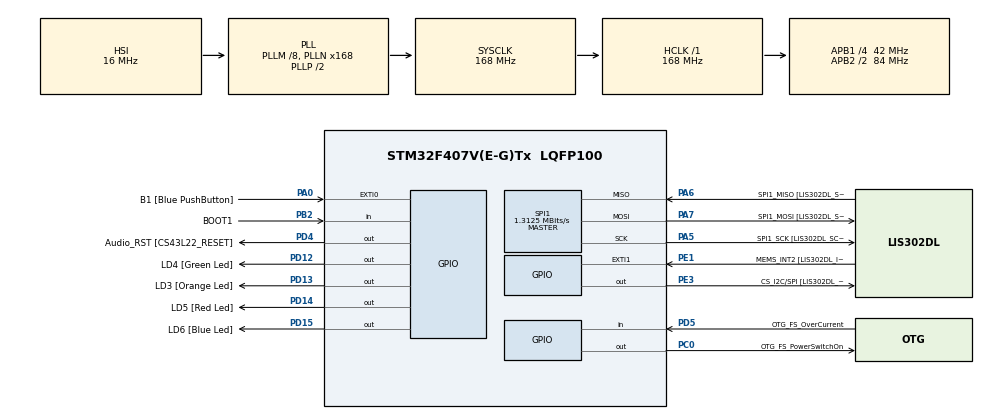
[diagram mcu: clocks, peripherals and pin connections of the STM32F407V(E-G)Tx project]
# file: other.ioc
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Mcu.Family=STM32F4
Mcu.Name=STM32F407V(E-G)Tx
Mcu.Package=LQFP100
NVIC.PriorityGroup=NVIC_PRIORITYGROUP_0
PA0-WKUP.GPIO_Label=B1 [Blue PushButton]
PA0-WKUP.GPIO_ModeDefaultEXTI=GPIO_MODE_EVT_RISING
PA0-WKUP.GPIO_PuPd=GPIO_NOPULL
PA0-WKUP.Signal=GPXTI0
PA10.GPIO_Label=OTG_FS_ID
PA10.GPIO_Mode=GPIO_MODE_AF_PP
PA10.GPIO_PuPd=GPIO_NOPULL
PA10.GPIO_Speed=GPIO_SPEED_FREQ_LOW
PA10.Signal=USB_OTG_FS_ID
PA11.GPIO_Label=OTG_FS_DM
PA11.GPIO_Mode=GPIO_MODE_AF_PP
PA11.GPIO_PuPd=GPIO_NOPULL
PA11.GPIO_Speed=GPIO_SPEED_FREQ_LOW
PA11.Signal=USB_OTG_FS_DM
PA12.GPIO_Label=OTG_FS_DP
PA12.GPIO_Mode=GPIO_MODE_AF_PP
PA12.GPIO_PuPd=GPIO_NOPULL
PA12.GPIO_Speed=GPIO_SPEED_FREQ_LOW
PA12.Signal=USB_OTG_FS_DP
PA13.GPIO_Label=SWDIO
PA13.Signal=SYS_JTMS-SWDIO
PA14.GPIO_Label=SWCLK
PA14.Signal=SYS_JTCK-SWCLK
PA4.GPIO_Label=I2S3_WS [CS43L22_LRCK]
PA4.GPIO_Mode=GPIO_MODE_AF_PP
PA4.GPIO_PuPd=GPIO_NOPULL
PA4.GPIO_Speed=GPIO_SPEED_FREQ_LOW
PA4.Signal=I2S3_WS
PA5.GPIO_Label=SPI1_SCK [LIS302DL_SCL/SPC]
PA5.GPIO_Mode=GPIO_MODE_AF_PP
PA5.GPIO_PuPd=GPIO_NOPULL
PA5.GPIO_Speed=GPIO_SPEED_FREQ_LOW
PA5.Mode=Full_Duplex_Master
PA5.Signal=SPI1_SCK
PA6.GPIO_Label=SPI1_MISO [LIS302DL_SDO]
PA6.GPIO_Mode=GPIO_MODE_AF_PP
PA6.GPIO_PuPd=GPIO_NOPULL
PA6.GPIO_Speed=GPIO_SPEED_FREQ_LOW
PA6.Mode=Full_Duplex_Master
PA6.Signal=SPI1_MISO
PA7.GPIO_Label=SPI1_MOSI [LIS302DL_SDA/SDI/SDO]
PA7.GPIO_Mode=GPIO_MODE_AF_PP
PA7.GPIO_PuPd=GPIO_NOPULL
PA7.GPIO_Speed=GPIO_SPEED_FREQ_LOW
PA7.Mode=Full_Duplex_Master
PA7.Signal=SPI1_MOSI
PA9.GPIO_Label=VBUS_FS
PA9.GPIO_Mode=GPIO_MODE_INPUT
PA9.GPIO_PuPd=GPIO_NOPULL
PA9.Signal=USB_OTG_FS_VBUS
PB10.GPIO_Label=CLK_IN [MP45DT02_CLK]
PB10.GPIO_Mode=GPIO_MODE_AF_PP
PB10.GPIO_PuPd=GPIO_NOPULL
PB10.GPIO_Speed=GPIO_SPEED_FREQ_LOW
PB10.Signal=I2S2_CK
PB2.GPIO_Label=BOOT1
PB2.GPIO_Mode=GPIO_MODE_INPUT
PB2.GPIO_PuPd=GPIO_NOPULL
PB2.Signal=GPIO_Input
PB3.GPIO_Label=SWO
PB3.Signal=SYS_JTDO-SWO
PB6.GPIO_Label=Audio_SCL [CS43L22_SCL]
PB6.GPIO_Mode=GPIO_MODE_AF_OD
PB6.GPIO_PuPd=GPIO_NOPULL
PB6.GPIO_Speed=GPIO_SPEED_FREQ_LOW
PB6.Signal=I2C1_SCL
PB9.GPIO_Label=Audio_SDA [CS43L22_SDA]
PB9.GPIO_Mode=GPIO_MODE_AF_OD
PB9.GPIO_PuPd=GPIO_NOPULL
PB9.GPIO_Speed=GPIO_SPEED_FREQ_LOW
PB9.Signal=I2C1_SDA
PC0.GPIO_Label=OTG_FS_PowerSwitchOn
PC0.GPIO_PuPd=GPIO_NOPULL
PC0.GPIO_Speed=GPIO_SPEED_FREQ_LOW
PC0.PinState=GPIO_PIN_SET
PC0.Signal=GPIO_Output
PC10.GPIO_Label=I2S3_SCK [CS43L22_SCLK]
PC10.GPIO_Mode=GPIO_MODE_AF_PP
PC10.GPIO_PuPd=GPIO_NOPULL
PC10.GPIO_Speed=GPIO_SPEED_FREQ_LOW
PC10.Signal=I2S3_CK
PC12.GPIO_Label=I2S3_SD [CS43L22_SDIN]
PC12.GPIO_Mode=GPIO_MODE_AF_PP
PC12.GPIO_PuPd=GPIO_NOPULL
PC12.GPIO_Speed=GPIO_SPEED_FREQ_LOW
PC12.Signal=I2S3_SD
PC14-OSC32_IN.GPIO_Label=PC14-OSC32_IN
PC14-OSC32_IN.Signal=RCC_OSC32_IN
PC15-OSC32_OUT.GPIO_Label=PC15-OSC32_OUT
PC15-OSC32_OUT.Signal=RCC_OSC32_OUT
PC3.GPIO_Label=PDM_OUT [MP45DT02_DOUT]
PC3.GPIO_Mode=GPIO_MODE_AF_PP
PC3.GPIO_PuPd=GPIO_NOPULL
PC3.GPIO_Speed=GPIO_SPEED_FREQ_LOW
PC3.Signal=I2S2_SD
PC7.GPIO_Label=I2S3_MCK [CS43L22_MCLK]
PC7.GPIO_Mode=GPIO_MODE_AF_PP
PC7.GPIO_PuPd=GPIO_NOPULL
PC7.GPIO_Speed=GPIO_SPEED_FREQ_LOW
PC7.Signal=I2S3_MCK
PD12.GPIO_Label=LD4 [Green Led]
PD12.GPIO_PuPd=GPIO_NOPULL
PD12.GPIO_Speed=GPIO_SPEED_FREQ_LOW
PD12.Signal=GPIO_Output
PD13.GPIO_Label=LD3 [Orange Led]
PD13.GPIO_PuPd=GPIO_NOPULL
PD13.GPIO_Speed=GPIO_SPEED_FREQ_LOW
PD13.Signal=GPIO_Output
PD14.GPIO_Label=LD5 [Red Led]
PD14.GPIO_PuPd=GPIO_NOPULL
PD14.GPIO_Speed=GPIO_SPEED_FREQ_LOW
PD14.Signal=GPIO_Output
PD15.GPIO_Label=LD6 [Blue Led]
PD15.GPIO_PuPd=GPIO_NOPULL
PD15.GPIO_Speed=GPIO_SPEED_FREQ_LOW
PD15.Signal=GPIO_Output
PD4.GPIO_Label=Audio_RST [CS43L22_RESET]
PD4.GPIO_PuPd=GPIO_NOPULL
PD4.GPIO_Speed=GPIO_SPEED_FREQ_LOW
PD4.Signal=GPIO_Output
PD5.GPIO_Label=OTG_FS_OverCurrent
PD5.GPIO_Mode=GPIO_MODE_INPUT
PD5.GPIO_PuPd=GPIO_NOPULL
PD5.Signal=GPIO_Input
PE1.GPIO_Label=MEMS_INT2 [LIS302DL_INT2]
PE1.GPIO_ModeDefaultEXTI=GPIO_MODE_EVT_RISING
PE1.GPIO_PuPd=GPIO_NOPULL
PE1.Signal=GPXTI1
PE3.GPIO_Label=CS_I2C/SPI [LIS302DL_CS_I2C/SPI]
PE3.GPIO_PuPd=GPIO_NOPULL
PE3.GPIO_Speed=GPIO_SPEED_FREQ_LOW
PE3.Signal=GPIO_Output
PH0-OSC_IN.GPIO_Label=PH0-OSC_IN
PH0-OSC_IN.Mode=HSE-External-Oscillator
PH0-OSC_IN.Signal=RCC_OSC_IN
PH1-OSC_OUT.GPIO_Label=PH1-OSC_OUT
PH1-OSC_OUT.Mode=HSE-External-Oscillator
PH1-OSC_OUT.Signal=RCC_OSC_OUT
ProjectManager.HeapSize=0x200
ProjectManager.StackSize=0x400
ProjectManager.TargetToolchain=SW4STM32
RCC.48MHZClocksFreq_Value=48000000
RCC.AHBFreq_Value=168000000
RCC.APB1CLKDivider=RCC_HCLK_DIV4
RCC.APB1Freq_Value=42000000
RCC.APB1TimFreq_Value=84000000
RCC.APB2CLKDivider=RCC_HCLK_DIV2
RCC.APB2Freq_Value=84000000
RCC.APB2TimFreq_Value=168000000
RCC.CortexFreq_Value=168000000
RCC.HCLKFreq_Value=168000000
RCC.HSE_VALUE=8000000
RCC.HSI_VALUE=16000000
RCC.LSE_VALUE=32768
RCC.PLLM=8
RCC.PLLN=168
RCC.PLLQ=7
RCC.SYSCLKFreq_VALUE=168000000
RCC.SYSCLKSource=RCC_SYSCLKSOURCE_PLLCLK
RCC.VCOOutputFreq_Value=336000000
SPI1.BaudRatePrescaler=SPI_BAUDRATEPRESCALER_64
SPI1.CalculateBaudRate=1.3125 MBits/s
SPI1.Direction=SPI_DIRECTION_2LINES
SPI1.Mode=SPI_MODE_MASTER
SPI1.VirtualType=VM_MASTER
board=STM32F4DISCOVERY

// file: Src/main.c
/**
  ******************************************************************************
  * @file           : main.c
  * @brief          : Main program body
  ******************************************************************************
  ** This notice applies to any and all portions of this file
  * that are not between comment pairs USER CODE BEGIN and
  * USER CODE END. Other portions of this file, whether
  * inserted by the user or by software development tools
  * are owned by their respective copyright owners.
  *
  * COPYRIGHT(c) 2018 STMicroelectronics
  *
  * Redistribution and use in source and binary forms, with or without modification,
  * are permitted provided that the following conditions are met:
  *   1. Redistributions of source code must retain the above copyright notice,
  *      this list of conditions and the following disclaimer.
  *   2. Redistributions in binary form must reproduce the above copyright notice,
  *      this list of conditions and the following disclaimer in the documentation
  *      and/or other materials provided with the distribution.
  *   3. Neither the name of STMicroelectronics nor the names of its contributors
  *      may be used to endorse or promote products derived from this software
  *      without specific prior written permission.
  *
  * THIS SOFTWARE IS PROVIDED BY THE COPYRIGHT HOLDERS AND CONTRIBUTORS "AS IS"
  * AND ANY EXPRESS OR IMPLIED WARRANTIES, INCLUDING, BUT NOT LIMITED TO, THE
  * IMPLIED WARRANTIES OF MERCHANTABILITY AND FITNESS FOR A PARTICULAR PURPOSE ARE
  * DISCLAIMED. IN NO EVENT SHALL THE COPYRIGHT HOLDER OR CONTRIBUTORS BE LIABLE
  * FOR ANY DIRECT, INDIRECT, INCIDENTAL, SPECIAL, EXEMPLARY, OR CONSEQUENTIAL
  * DAMAGES (INCLUDING, BUT NOT LIMITED TO, PROCUREMENT OF SUBSTITUTE GOODS OR
  * SERVICES; LOSS OF USE, DATA, OR PROFITS; OR BUSINESS INTERRUPTION) HOWEVER
  * CAUSED AND ON ANY THEORY OF LIABILITY, WHETHER IN CONTRACT, STRICT LIABILITY,
  * OR TORT (INCLUDING NEGLIGENCE OR OTHERWISE) ARISING IN ANY WAY OUT OF THE USE
  * OF THIS SOFTWARE, EVEN IF ADVISED OF THE POSSIBILITY OF SUCH DAMAGE.
  *
  ******************************************************************************
  */
#include "main.h"
#include "stm32f4xx_hal.h"

/* USER CODE BEGIN Includes */
#include "defines.h"
/* USER CODE END Includes */

SPI_HandleTypeDef hspi1;

/* USER CODE BEGIN PV */
/* Private variables ---------------------------------------------------------*/
int16_t X;
int16_t Y;
int16_t Z;

float X_Acc, Y_Acc, Z_Acc;
/* USER CODE END PV */

void SystemClock_Config(void);
static void MX_GPIO_Init(void);
static void MX_SPI1_Init(void);

/* USER CODE BEGIN PFP */
/* Private function prototypes -----------------------------------------------*/
void Accelero_Init(Sensitivity_t Sens);
void Read_Axis_Data(uint8_t address, uint8_t* data);
void Read_Axes();
/* USER CODE END PFP */

/* USER CODE BEGIN 0 */
uint8_t TxBuff[2], RxBuff[2];

float Sensitivity;
/* USER CODE END 0 */

int main(void)
{

  /* MCU Configuration----------------------------------------------------------*/

  /* Reset of all peripherals, Initializes the Flash interface and the Systick. */
  HAL_Init();

  /* Configure the system clock */
  SystemClock_Config();

  /* Initialize all configured peripherals */
  MX_GPIO_Init();
  MX_SPI1_Init();
  /* USER CODE BEGIN 2 */

  /*
   * Accelero_Init takes a Gravitational sensitivity as its argument.
   *
   * List of sensitivities:
   *
   * Sensitivity_2G,
   * Sensitivity_4G,
   * Sensitivity_6G,
   * Sensitivity_8G,
   * Sensitivity_16G,*/

  Accelero_Init(Sensitivity_6G);
  /* USER CODE END 2 */

  /* Infinite loop */
  /* USER CODE BEGIN WHILE */
  while (1)
  {
	   Read_Axes();

	  X_Acc = X/1000.0;
	  Y_Acc = Y/1000.0;
	  Z_Acc = Z/1000.0;

	   if (X < -200){
		   HAL_GPIO_WritePin(LED_PORT, GREEN_LED, GPIO_PIN_SET);
	   } else{
		   HAL_GPIO_WritePin(LED_PORT, GREEN_LED, GPIO_PIN_RESET);
	   }

	   if (X > 200){
		   HAL_GPIO_WritePin(LED_PORT, RED_LED, GPIO_PIN_SET);
	   }else{
	  		   HAL_GPIO_WritePin(LED_PORT, RED_LED, GPIO_PIN_RESET);
	  	   }

	   if (Y > 200){
		   HAL_GPIO_WritePin(LED_PORT, ORANGE_LED, GPIO_PIN_SET);
		  } else{
	   HAL_GPIO_WritePin(LED_PORT, ORANGE_LED, GPIO_PIN_RESET);
	   }

	   if (Y < -200){
	   		   HAL_GPIO_WritePin(LED_PORT, BLUE_LED, GPIO_PIN_SET);
	   		  } else{
	   	   HAL_GPIO_WritePin(LED_PORT, BLUE_LED, GPIO_PIN_RESET);
	   		  }
  /* USER CODE END WHILE */

  }

}

void SystemClock_Config(void)
{

  RCC_OscInitTypeDef RCC_OscInitStruct;
  RCC_ClkInitTypeDef RCC_ClkInitStruct;

    /**Configure the main internal regulator output voltage
    */
  __HAL_RCC_PWR_CLK_ENABLE();

  __HAL_PWR_VOLTAGESCALING_CONFIG(PWR_REGULATOR_VOLTAGE_SCALE1);

    /**Initializes the CPU, AHB and APB busses clocks
    */
  RCC_OscInitStruct.OscillatorType = RCC_OSCILLATORTYPE_HSI;
  RCC_OscInitStruct.HSIState = RCC_HSI_ON;
  RCC_OscInitStruct.HSICalibrationValue = 16;
  RCC_OscInitStruct.PLL.PLLState = RCC_PLL_ON;
  RCC_OscInitStruct.PLL.PLLSource = RCC_PLLSOURCE_HSI;
  RCC_OscInitStruct.PLL.PLLM = 8;
  RCC_OscInitStruct.PLL.PLLN = 168;
  RCC_OscInitStruct.PLL.PLLP = RCC_PLLP_DIV2;
  RCC_OscInitStruct.PLL.PLLQ = 7;
  if (HAL_RCC_OscConfig(&RCC_OscInitStruct) != HAL_OK)
  {
    _Error_Handler(__FILE__, __LINE__);
  }

    /**Initializes the CPU, AHB and APB busses clocks
    */
  RCC_ClkInitStruct.ClockType = RCC_CLOCKTYPE_HCLK|RCC_CLOCKTYPE_SYSCLK
                              |RCC_CLOCKTYPE_PCLK1|RCC_CLOCKTYPE_PCLK2;
  RCC_ClkInitStruct.SYSCLKSource = RCC_SYSCLKSOURCE_PLLCLK;
  RCC_ClkInitStruct.AHBCLKDivider = RCC_SYSCLK_DIV1;
  RCC_ClkInitStruct.APB1CLKDivider = RCC_HCLK_DIV4;
  RCC_ClkInitStruct.APB2CLKDivider = RCC_HCLK_DIV2;

  if (HAL_RCC_ClockConfig(&RCC_ClkInitStruct, FLASH_LATENCY_5) != HAL_OK)
  {
    _Error_Handler(__FILE__, __LINE__);
  }

    /**Configure the Systick interrupt time
    */
  HAL_SYSTICK_Config(HAL_RCC_GetHCLKFreq()/1000);

    /**Configure the Systick
    */
  HAL_SYSTICK_CLKSourceConfig(SYSTICK_CLKSOURCE_HCLK);

  /* SysTick_IRQn interrupt configuration */
  HAL_NVIC_SetPriority(SysTick_IRQn, 0, 0);
}

/* SPI1 init function */
static void MX_SPI1_Init(void)
{

  /* SPI1 parameter configuration*/
  hspi1.Instance = SPI1;
  hspi1.Init.Mode = SPI_MODE_MASTER;
  hspi1.Init.Direction = SPI_DIRECTION_2LINES;
  hspi1.Init.DataSize = SPI_DATASIZE_8BIT;
  hspi1.Init.CLKPolarity = SPI_POLARITY_LOW;
  hspi1.Init.CLKPhase = SPI_PHASE_1EDGE;
  hspi1.Init.NSS = SPI_NSS_SOFT;
  hspi1.Init.BaudRatePrescaler = SPI_BAUDRATEPRESCALER_64;
  hspi1.Init.FirstBit = SPI_FIRSTBIT_MSB;
  hspi1.Init.TIMode = SPI_TIMODE_DISABLE;
  hspi1.Init.CRCCalculation = SPI_CRCCALCULATION_DISABLE;
  hspi1.Init.CRCPolynomial = 10;
  if (HAL_SPI_Init(&hspi1) != HAL_OK)
  {
    _Error_Handler(__FILE__, __LINE__);
  }

}

/** Configure pins as
        * Analog
        * Input
        * Output
        * EVENT_OUT
        * EXTI
     PC3   ------> I2S2_SD
     PA4   ------> I2S3_WS
     PB10   ------> I2S2_CK
     PC7   ------> I2S3_MCK
     PA9   ------> USB_OTG_FS_VBUS
     PA10   ------> USB_OTG_FS_ID
     PA11   ------> USB_OTG_FS_DM
     PA12   ------> USB_OTG_FS_DP
     PC10   ------> I2S3_CK
     PC12   ------> I2S3_SD
     PB6   ------> I2C1_SCL
     PB9   ------> I2C1_SDA
*/
static void MX_GPIO_Init(void)
{

  GPIO_InitTypeDef GPIO_InitStruct;

  /* GPIO Ports Clock Enable */
  __HAL_RCC_GPIOE_CLK_ENABLE();
  __HAL_RCC_GPIOC_CLK_ENABLE();
  __HAL_RCC_GPIOH_CLK_ENABLE();
  __HAL_RCC_GPIOA_CLK_ENABLE();
  __HAL_RCC_GPIOB_CLK_ENABLE();
  __HAL_RCC_GPIOD_CLK_ENABLE();

  /*Configure GPIO pin Output Level */
  HAL_GPIO_WritePin(CS_I2C_SPI_GPIO_Port, CS_I2C_SPI_Pin, GPIO_PIN_RESET);

  /*Configure GPIO pin Output Level */
  HAL_GPIO_WritePin(OTG_FS_PowerSwitchOn_GPIO_Port, OTG_FS_PowerSwitchOn_Pin, GPIO_PIN_SET);

  /*Configure GPIO pin Output Level */
  HAL_GPIO_WritePin(GPIOD, LD4_Pin|LD3_Pin|LD5_Pin|LD6_Pin
                          |Audio_RST_Pin, GPIO_PIN_RESET);

  /*Configure GPIO pin : CS_I2C_SPI_Pin */
  GPIO_InitStruct.Pin = CS_I2C_SPI_Pin;
  GPIO_InitStruct.Mode = GPIO_MODE_OUTPUT_PP;
  GPIO_InitStruct.Pull = GPIO_NOPULL;
  GPIO_InitStruct.Speed = GPIO_SPEED_FREQ_LOW;
  HAL_GPIO_Init(CS_I2C_SPI_GPIO_Port, &GPIO_InitStruct);

  /*Configure GPIO pin : OTG_FS_PowerSwitchOn_Pin */
  GPIO_InitStruct.Pin = OTG_FS_PowerSwitchOn_Pin;
  GPIO_InitStruct.Mode = GPIO_MODE_OUTPUT_PP;
  GPIO_InitStruct.Pull = GPIO_NOPULL;
  GPIO_InitStruct.Speed = GPIO_SPEED_FREQ_LOW;
  HAL_GPIO_Init(OTG_FS_PowerSwitchOn_GPIO_Port, &GPIO_InitStruct);

  /*Configure GPIO pin : PDM_OUT_Pin */
  GPIO_InitStruct.Pin = PDM_OUT_Pin;
  GPIO_InitStruct.Mode = GPIO_MODE_AF_PP;
  GPIO_InitStruct.Pull = GPIO_NOPULL;
  GPIO_InitStruct.Speed = GPIO_SPEED_FREQ_LOW;
  GPIO_InitStruct.Alternate = GPIO_AF5_SPI2;
  HAL_GPIO_Init(PDM_OUT_GPIO_Port, &GPIO_InitStruct);

  /*Configure GPIO pin : B1_Pin */
  GPIO_InitStruct.Pin = B1_Pin;
  GPIO_InitStruct.Mode = GPIO_MODE_EVT_RISING;
  GPIO_InitStruct.Pull = GPIO_NOPULL;
  HAL_GPIO_Init(B1_GPIO_Port, &GPIO_InitStruct);

  /*Configure GPIO pin : I2S3_WS_Pin */
  GPIO_InitStruct.Pin = I2S3_WS_Pin;
  GPIO_InitStruct.Mode = GPIO_MODE_AF_PP;
  GPIO_InitStruct.Pull = GPIO_NOPULL;
  GPIO_InitStruct.Speed = GPIO_SPEED_FREQ_LOW;
  GPIO_InitStruct.Alternate = GPIO_AF6_SPI3;
  HAL_GPIO_Init(I2S3_WS_GPIO_Port, &GPIO_InitStruct);

  /*Configure GPIO pin : BOOT1_Pin */
  GPIO_InitStruct.Pin = BOOT1_Pin;
  GPIO_InitStruct.Mode = GPIO_MODE_INPUT;
  GPIO_InitStruct.Pull = GPIO_NOPULL;
  HAL_GPIO_Init(BOOT1_GPIO_Port, &GPIO_InitStruct);

  /*Configure GPIO pin : CLK_IN_Pin */
  GPIO_InitStruct.Pin = CLK_IN_Pin;
  GPIO_InitStruct.Mode = GPIO_MODE_AF_PP;
  GPIO_InitStruct.Pull = GPIO_NOPULL;
  GPIO_InitStruct.Speed = GPIO_SPEED_FREQ_LOW;
  GPIO_InitStruct.Alternate = GPIO_AF5_SPI2;
  HAL_GPIO_Init(CLK_IN_GPIO_Port, &GPIO_InitStruct);

  /*Configure GPIO pins : LD4_Pin LD3_Pin LD5_Pin LD6_Pin
                           Audio_RST_Pin */
  GPIO_InitStruct.Pin = LD4_Pin|LD3_Pin|LD5_Pin|LD6_Pin
                          |Audio_RST_Pin;
  GPIO_InitStruct.Mode = GPIO_MODE_OUTPUT_PP;
  GPIO_InitStruct.Pull = GPIO_NOPULL;
  GPIO_InitStruct.Speed = GPIO_SPEED_FREQ_LOW;
  HAL_GPIO_Init(GPIOD, &GPIO_InitStruct);

  /*Configure GPIO pins : I2S3_MCK_Pin I2S3_SCK_Pin I2S3_SD_Pin */
  GPIO_InitStruct.Pin = I2S3_MCK_Pin|I2S3_SCK_Pin|I2S3_SD_Pin;
  GPIO_InitStruct.Mode = GPIO_MODE_AF_PP;
  GPIO_InitStruct.Pull = GPIO_NOPULL;
  GPIO_InitStruct.Speed = GPIO_SPEED_FREQ_LOW;
  GPIO_InitStruct.Alternate = GPIO_AF6_SPI3;
  HAL_GPIO_Init(GPIOC, &GPIO_InitStruct);

  /*Configure GPIO pin : VBUS_FS_Pin */
  GPIO_InitStruct.Pin = VBUS_FS_Pin;
  GPIO_InitStruct.Mode = GPIO_MODE_INPUT;
  GPIO_InitStruct.Pull = GPIO_NOPULL;
  HAL_GPIO_Init(VBUS_FS_GPIO_Port, &GPIO_InitStruct);

  /*Configure GPIO pins : OTG_FS_ID_Pin OTG_FS_DM_Pin OTG_FS_DP_Pin */
  GPIO_InitStruct.Pin = OTG_FS_ID_Pin|OTG_FS_DM_Pin|OTG_FS_DP_Pin;
  GPIO_InitStruct.Mode = GPIO_MODE_AF_PP;
  GPIO_InitStruct.Pull = GPIO_NOPULL;
  GPIO_InitStruct.Speed = GPIO_SPEED_FREQ_LOW;
  GPIO_InitStruct.Alternate = GPIO_AF10_OTG_FS;
  HAL_GPIO_Init(GPIOA, &GPIO_InitStruct);

  /*Configure GPIO pin : OTG_FS_OverCurrent_Pin */
  GPIO_InitStruct.Pin = OTG_FS_OverCurrent_Pin;
  GPIO_InitStruct.Mode = GPIO_MODE_INPUT;
  GPIO_InitStruct.Pull = GPIO_NOPULL;
  HAL_GPIO_Init(OTG_FS_OverCurrent_GPIO_Port, &GPIO_InitStruct);

  /*Configure GPIO pins : Audio_SCL_Pin Audio_SDA_Pin */
  GPIO_InitStruct.Pin = Audio_SCL_Pin|Audio_SDA_Pin;
  GPIO_InitStruct.Mode = GPIO_MODE_AF_OD;
  GPIO_InitStruct.Pull = GPIO_PULLUP;
  GPIO_InitStruct.Speed = GPIO_SPEED_FREQ_LOW;
  GPIO_InitStruct.Alternate = GPIO_AF4_I2C1;
  HAL_GPIO_Init(GPIOB, &GPIO_InitStruct);

  /*Configure GPIO pin : MEMS_INT2_Pin */
  GPIO_InitStruct.Pin = MEMS_INT2_Pin;
  GPIO_InitStruct.Mode = GPIO_MODE_EVT_RISING;
  GPIO_InitStruct.Pull = GPIO_NOPULL;
  HAL_GPIO_Init(MEMS_INT2_GPIO_Port, &GPIO_InitStruct);

}

/* USER CODE BEGIN 4 */

//Initializes accelerometer to use 100hz frequency and enables XYZ AXES
void Accelero_Init(Sensitivity_t Sens){

	//Register to be written to
	TxBuff[0] = CTRL_REG_4;
	//Default to enable XYZ and 2G Sensitivity
	TxBuff[1] = ENABLE_XYZ;

	HAL_GPIO_WritePin(MEMS_PORT, MEMS_PIN, GPIO_PIN_RESET);

		  //sends configurations to MEMS
	HAL_SPI_Transmit(&hspi1, TxBuff, 2, 50);

		  //SPI1 CS high for end transmission
	HAL_GPIO_WritePin(MEMS_PORT, MEMS_PIN, GPIO_PIN_SET);

	TxBuff[0] = CTRL_REG_5;

	switch (Sens){

	case (Sensitivity_2G):
			TxBuff[1] = 0x40;
			Sensitivity = 0.06;
			break;

	case (Sensitivity_4G):
			TxBuff[1] = 0x48;
			Sensitivity = 0.12;
			break;

	case (Sensitivity_6G):
			TxBuff[1] = 0x50;
			Sensitivity = 0.18;
			break;

	case (Sensitivity_8G):
			TxBuff[1] |= 0x58;
			Sensitivity = 0.24;
			break;

	case(Sensitivity_16G):
			TxBuff[1] |= 0x60;
			Sensitivity = 0.73;
			break;
	}

	//SPI1 CS low for transmission

	HAL_GPIO_WritePin(MEMS_PORT, MEMS_PIN, GPIO_PIN_RESET);

		  //sends configurations to MEMS
	HAL_SPI_Transmit(&hspi1, TxBuff, 2, 50);

		  //SPI1 CS high for end transmission
	HAL_GPIO_WritePin(MEMS_PORT, MEMS_PIN, GPIO_PIN_SET);

	  //flashes lights to show that board is done with INIT
	  for (int i = 0; i < 5; i++){
	 		  HAL_GPIO_TogglePin(LED_PORT, RED_LED | GREEN_LED | ORANGE_LED | BLUE_LED);
	 		  HAL_Delay(200);
	 	  }

}

//
void Read_Axes(){
	uint8_t buffer[6];

	//gets most significant bit and least significant bit and adds them to buffer array
	Read_Axis_Data(X_L_ADDR, &buffer[0]);
	Read_Axis_Data(X_H_ADDR, &buffer[1]);
	Read_Axis_Data(Y_L_ADDR, &buffer[2]);
	Read_Axis_Data(Y_H_ADDR, &buffer[3]);
	Read_Axis_Data(Z_L_ADDR, &buffer[4]);
	Read_Axis_Data(Z_H_ADDR, &buffer[5]);

	//converts LSB and MSB to 16 bit int and multiplies by sensitivity selection
	X = (int16_t)((buffer[1] << 8) + buffer[0]) * Sensitivity;
	Y = (int16_t)((buffer[3] << 8) + buffer[2]) * Sensitivity;
	Z = (int16_t)((buffer[5] << 8) + buffer[4]) * Sensitivity;
}

void Read_Axis_Data(uint8_t address, uint8_t *data){

	TxBuff[0] = address | 0x80;

	//enable communication
	HAL_GPIO_WritePin(MEMS_PORT, MEMS_PIN, GPIO_PIN_RESET);

	//send axis address and ready to receive bit
	HAL_SPI_Transmit(&hspi1, TxBuff, 1, 50);

	//receive data
	HAL_SPI_Receive(&hspi1, data, 1, 50);

	//disable communication
	HAL_GPIO_WritePin(MEMS_PORT, MEMS_PIN, GPIO_PIN_SET);
}

//initialize the sensitivity and the filter

//	/* Configure MEMS: full scale and self test */
//	tmpreg = (uint8_t) (temp >> 8);
//
//	/* Write value to MEMS CTRL_REG5 register */
//	TM_LIS302DL_LIS3DSH_INT_WriteSPI(&tmpreg, LIS3DSH_CTRL_REG5_ADDR, 1);

/* USER CODE END 4 */

void _Error_Handler(char *file, int line)
{
  /* USER CODE BEGIN Error_Handler_Debug */
  /* User can add his own implementation to report the HAL error return state */
  while(1)
  {
	  HAL_GPIO_TogglePin(LED_PORT, RED_LED | GREEN_LED | ORANGE_LED | BLUE_LED);
	 	  HAL_Delay(750);
  }
  /* USER CODE END Error_Handler_Debug */
}

/************************ (C) COPYRIGHT STMicroelectronics *****END OF FILE****/
